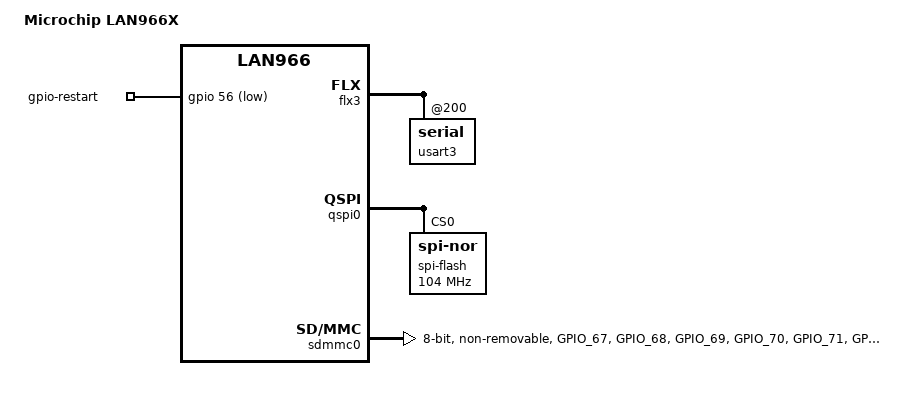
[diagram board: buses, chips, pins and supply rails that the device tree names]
// SPDX-License-Identifier: (GPL-2.0+ OR MIT)
/*
 * lan966x-appl-pcb8291.dts - Device Tree file for PCB8291
 */
/dts-v1/;
#include "lan966x.dtsi"

/ {
	model = "Microchip LAN966X";
	compatible = "microchip,lan9662-pcb8291", "microchip,lan9662", "microchip,lan966";

	aliases {
		serial0 = &usart3;
	};

	gpio-restart {
		compatible = "gpio-restart";
		gpios = <&gpio 56 GPIO_ACTIVE_LOW>;
		priority = <200>;
	};
};

&aes {
	status = "disabled"; /* Reserved by secure OS */
};

&flx3 {
	atmel,flexcom-mode = <ATMEL_FLEXCOM_MODE_USART>;
	status = "okay";

	usart3: serial@200 {
		pinctrl-0 = <&fc3_b_pins>;
		pinctrl-names = "default";
		status = "okay";
	};
};

&gpio {
	fc3_b_pins: fc3-b-pins {
		/* RXD, TXD */
		pins = "GPIO_52", "GPIO_53";
		function = "fc3_b";
	};

	emmc_sd_pins: emmc-sd-pins {
		/* eMMC_SD - CMD, CLK, D0, D1, D2, D3, RSTN */
		pins = "GPIO_67", "GPIO_68", "GPIO_69", "GPIO_70",
			"GPIO_71", "GPIO_72", "GPIO_77";
		function = "emmc_sd";
	};

	emmc_pins: emmc-pins {
		/* eMMC - D4, D5, D6, D7 */
		pins = "GPIO_73", "GPIO_74", "GPIO_75", "GPIO_76";
		function = "emmc";
	};
};

&gpio {
	/delete-property/ interrupts;
	/delete-property/ interrupt-controller;
	/delete-property/ #interrupt-cells;
};

&qspi0 {
	status = "okay";

	spi-flash@0 {
		compatible = "jedec,spi-nor";
		reg = <0>;
		spi-max-frequency = <104000000>;
		#address-cells = <1>;
		#size-cells = <1>;
		spi-tx-bus-width = <4>;
		spi-rx-bus-width = <4>;
		m25p,fast-read;
	};
};

&sdmmc0 {
	bus-width = <8>;
	cap-mmc-highspeed;
	cap-mmc-hw-reset;
	non-removable;
	pinctrl-0 = <&emmc_sd_pins>, <&emmc_pins>;
	pinctrl-names = "default";
	no-1-8-v;
	mmc-ddr-3_3v;
	tx-phase = <0>; /* 180 degrees phase shift */
	status = "okay";
};

&soc {
	lan966x_switch_vtss: switch_vtss@0 {
		compatible = "mchp,lan966x-switch-appl";
		reg = <0xe2008000 0x0000004c>;
		reg-names = "qs";

		interrupts = <GIC_SPI 12 IRQ_TYPE_LEVEL_HIGH>;
		interrupt-names = "xtr";
	};

	ifmux: switch_ifmux@0 {
		compatible = "microchip,lan966x-ifmux";
		status = "okay";
	};
};

&uio0 {
	interrupts = <GIC_SPI 19 IRQ_TYPE_LEVEL_HIGH>,
		     <GIC_SPI 10 IRQ_TYPE_LEVEL_HIGH>,
		     <GIC_SPI 11 IRQ_TYPE_LEVEL_HIGH>,
		     <GIC_SPI  9 IRQ_TYPE_LEVEL_HIGH>,
		     <GIC_SPI 80 IRQ_TYPE_LEVEL_HIGH>,
		     <GIC_SPI 81 IRQ_TYPE_LEVEL_HIGH>,
		     <GIC_SPI 18 IRQ_TYPE_LEVEL_HIGH>,
		     <GIC_SPI 17 IRQ_TYPE_LEVEL_HIGH>;
	interrupt-names = "master", "ptp_sync", "ptp_rdy",
			  "oam_vop", "cu_phy0", "cu_phy1",
			  "sgpio", "gpio";
};
